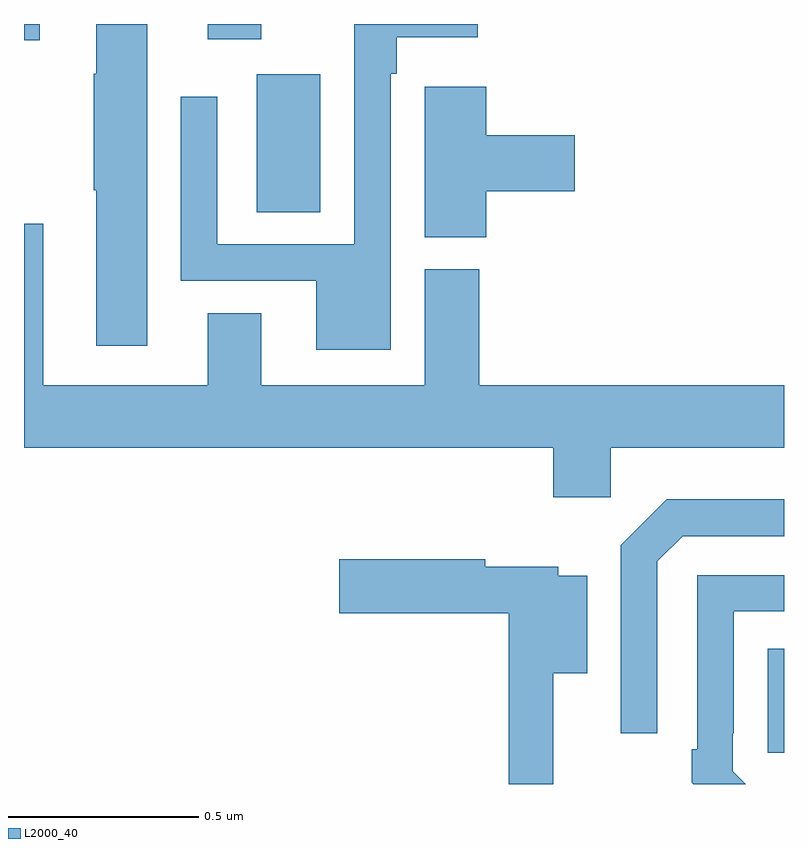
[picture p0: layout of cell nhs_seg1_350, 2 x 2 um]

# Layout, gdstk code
import gdstk
lib = gdstk.Library(unit=1e-6, precision=1e-09)
def R(c, l, rs):  # rectangles x0, y0, x1, y1
    for r in rs: c.add(gdstk.rectangle(r[:2], r[2:], *l))
def P(c, l, *ps):  # polygons
    for p in ps: c.add(gdstk.Polygon(p, *l))
L2000_40 = (2000, 40)

nhs_seg1_350 = lib.new_cell('nhs_seg1_350')
R(nhs_seg1_350, L2000_40, [(116.957,532.281,117,532.555), (115.613,533.704,115.78,534.067), (115,534.156,115.042,534.199), (115.484,534.159,115.624,534.199)])
P(nhs_seg1_350, L2000_40, [(115.324,534.199),(115.19,534.199),(115.19,534.068),(115.183,534.068),(115.183,533.761),(115.19,533.761),(115.19,533.352),(115.324,533.352)],
  [(115.965,534.068),(115.981,534.068),(115.981,534.164),(116.194,534.164),(116.194,534.199),(115.869,534.199),(115.869,533.619),(115.509,533.619),(115.509,534.007),(115.413,534.007),(115.413,533.523),(115.769,533.523),(115.769,533.342),(115.965,533.342)],
  [(116.216,533.759),(116.449,533.759),(116.449,533.906),(116.216,533.906),(116.216,534.034),(116.055,534.034),(116.055,533.921),(116.054,533.921),(116.054,533.638),(116.216,533.638)],
  [(116.544,533.084),(117,533.084),(117,533.248),(116.198,533.248),(116.198,533.553),(116.054,533.553),(116.054,533.248),(115.624,533.248),(115.624,533.438),(115.484,533.438),(115.484,533.248),(115.051,533.248),(115.051,533.674),(115,533.674),(115,533.084),(116.393,533.084),(116.393,532.953),(116.544,532.953)],
  [(116.667,532.785),(116.733,532.851),(117,532.851),(117,532.948),(116.692,532.948),(116.571,532.827),(116.571,532.332),(116.667,532.332)],
  [(116.393,532.49),(116.482,532.49),(116.482,532.747),(116.406,532.747),(116.406,532.771),(116.214,532.771),(116.214,532.791),(115.83,532.791),(115.83,532.649),(116.275,532.649),(116.275,532.199),(116.393,532.199)],
  [(116.865,532.233),(116.865,532.333),(116.868,532.333),(116.868,532.653),(117,532.653),(117,532.749),(116.772,532.749),(116.772,532.291),(116.757,532.291),(116.757,532.203),(116.761,532.199),(116.899,532.199)])

lib.write_gds('nhs_seg1_350.gds')
